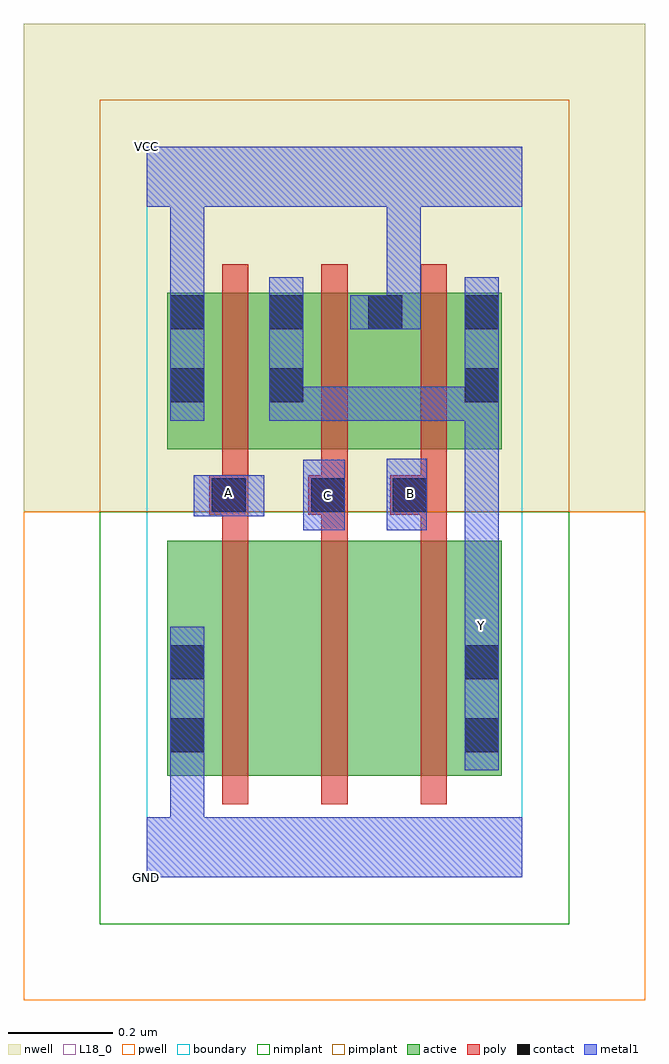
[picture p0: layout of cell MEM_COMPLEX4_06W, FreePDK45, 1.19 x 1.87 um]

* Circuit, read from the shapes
.subckt MEM_COMPLEX4_06W A B C GND VCC Y
M1 n1 A GND VSUBS nfet w=0.45u l=0.05u
M2 n2 C n1 VSUBS nfet w=0.45u l=0.05u
M3 Y B n2 VSUBS nfet w=0.45u l=0.05u
M4 Y A VCC n3 pfet w=0.3u l=0.05u
M5 VCC C Y n3 pfet w=0.3u l=0.05u
M6 Y B VCC n3 pfet w=0.3u l=0.05u
.ends

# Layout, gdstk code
import gdstk
lib = gdstk.Library(unit=1e-6, precision=1e-09)
def R(c, l, rs):  # rectangles x0, y0, x1, y1
    for r in rs: c.add(gdstk.rectangle(r[:2], r[2:], *l))
def A(c, l, x, y, w, h, nx, ny, dx, dy):  # array of equal rectangles
    R(c, l, [(x+i*dx, y+j*dy, x+i*dx+w, y+j*dy+h) for i in range(nx) for j in range(ny)])
active = (1, 0)
pwell = (2, 0)
nwell = (3, 0)
nimplant = (4, 0)
pimplant = (5, 0)
poly = (9, 0)
contact = (10, 0)
metal1 = (11, 0)
L18_0 = (18, 0)
boundary = (235, 0)

mem_complex4_06w = lib.new_cell('MEM_COMPLEX4_06W')
R(mem_complex4_06w, active, [(0.04,0.195,0.115,0.645), (0.04,0.195,0.265,0.645), (0.265,0.195,0.455,0.645), (0.455,0.195,0.68,0.645), (0.605,0.195,0.68,0.645), (0.04,0.82,0.115,1.12), (0.04,0.82,0.305,1.12), (0.23,0.82,0.305,1.12), (0.23,0.82,0.495,1.12), (0.42,0.82,0.68,1.12), (0.605,0.82,0.68,1.12), (0.42,0.887,0.495,1.12)])
R(mem_complex4_06w, pwell, [(-0.235,-0.235,0.955,0.7)])
R(mem_complex4_06w, nwell, [(-0.235,0.7,0.955,1.635)])
R(mem_complex4_06w, nimplant, [(-0.09,-0.09,0.81,0.7)])
R(mem_complex4_06w, pimplant, [(-0.09,0.7,0.81,1.49)])
A(mem_complex4_06w, poly, 0.145, 0.14, 0.05, 0.56, 3, 1, 0.19, 0)
A(mem_complex4_06w, poly, 0.145, 0.65, 0.05, 0.095, 3, 2, 0.19, 0.07)
A(mem_complex4_06w, poly, 0.145, 0.765, 0.05, 0.41, 3, 1, 0.19, 0)
R(mem_complex4_06w, poly, [(0.12,0.695,0.195,0.77), (0.31,0.695,0.385,0.77), (0.467,0.695,0.575,0.77)])
A(mem_complex4_06w, contact, 0.045, 1.05, 0.065, 0.065, 3, 1, 0.19, 0)
R(mem_complex4_06w, contact, [(0.045,0.24,0.11,0.305), (0.61,0.24,0.675,0.305), (0.045,0.38,0.11,0.445), (0.61,0.38,0.675,0.445), (0.125,0.7,0.19,0.765), (0.315,0.7,0.38,0.765), (0.472,0.7,0.537,0.765), (0.045,0.91,0.11,0.975), (0.235,0.91,0.3,0.975), (0.61,0.91,0.675,0.975), (0.61,1.05,0.675,1.115)])
R(mem_complex4_06w, metal1, [(0,0,0.72,0.115), (0.045,0.05,0.11,0.115), (0.045,0.05,0.11,0.115), (0.045,0.05,0.11,0.27), (0.045,0.205,0.11,0.48), (0.61,0.205,0.675,0.48), (0.61,0.415,0.675,0.48), (0.61,0.415,0.675,0.55), (0.61,0.485,0.675,0.94), (0.3,0.665,0.38,0.8), (0.46,0.665,0.537,0.802), (0.09,0.692,0.225,0.77), (0.045,0.875,0.11,1.15), (0.235,0.875,0.3,1.15), (0.235,0.875,0.3,0.94), (0.235,0.875,0.3,0.94), (0.235,0.875,0.537,0.94), (0.472,0.875,0.675,0.94), (0.472,0.875,0.537,0.94), (0.472,0.875,0.537,0.94), (0.472,0.875,0.537,0.94), (0.61,0.875,0.675,1.15), (0.39,1.05,0.525,1.115), (0.46,1.05,0.525,1.35), (0.045,1.085,0.11,1.35), (0,1.285,0.72,1.4), (0.045,1.285,0.11,1.35), (0.045,1.285,0.11,1.35), (0.46,1.285,0.525,1.35), (0.46,1.285,0.525,1.35)])
R(mem_complex4_06w, L18_0, [(0,0,0.72,0.115), (0.045,0.05,0.11,0.115), (0.045,0.05,0.11,0.115), (0.045,0.05,0.11,0.27), (0.045,0.205,0.11,0.48), (0.61,0.205,0.675,0.48), (0.61,0.415,0.675,0.48), (0.61,0.415,0.675,0.55), (0.61,0.45,0.675,0.515), (0.61,0.485,0.675,0.94), (0.3,0.665,0.38,0.8), (0.46,0.665,0.537,0.802), (0.09,0.692,0.225,0.77), (0.315,0.7,0.38,0.765), (0.472,0.702,0.537,0.767), (0.125,0.705,0.19,0.77), (0.045,0.875,0.11,1.15), (0.235,0.875,0.3,0.94), (0.235,0.875,0.3,0.94), (0.235,0.875,0.3,1.15), (0.235,0.875,0.537,0.94), (0.472,0.875,0.537,0.94), (0.472,0.875,0.537,0.94), (0.472,0.875,0.537,0.94), (0.472,0.875,0.675,0.94), (0.61,0.875,0.675,1.15), (0.39,1.05,0.525,1.115), (0.46,1.05,0.525,1.35), (0.045,1.085,0.11,1.35), (0,1.285,0.72,1.4), (0.045,1.285,0.11,1.35), (0.045,1.285,0.11,1.35), (0.46,1.285,0.525,1.35), (0.46,1.285,0.525,1.35)])
R(mem_complex4_06w, boundary, [(0,0,0.72,1.4)])
mem_complex4_06w.add(gdstk.Label('A', (0.157,0.737), layer=11, texttype=0))
mem_complex4_06w.add(gdstk.Label('B', (0.505,0.735), layer=11, texttype=0))
mem_complex4_06w.add(gdstk.Label('C', (0.347,0.732), layer=11, texttype=0))
mem_complex4_06w.add(gdstk.Label('Y', (0.642,0.482), layer=11, texttype=0))
mem_complex4_06w.add(gdstk.Label('VCC', (0,1.4), layer=11, texttype=0))
mem_complex4_06w.add(gdstk.Label('GND', (0,0), layer=11, texttype=0))

lib.write_gds('MEM_COMPLEX4_06W.gds')
